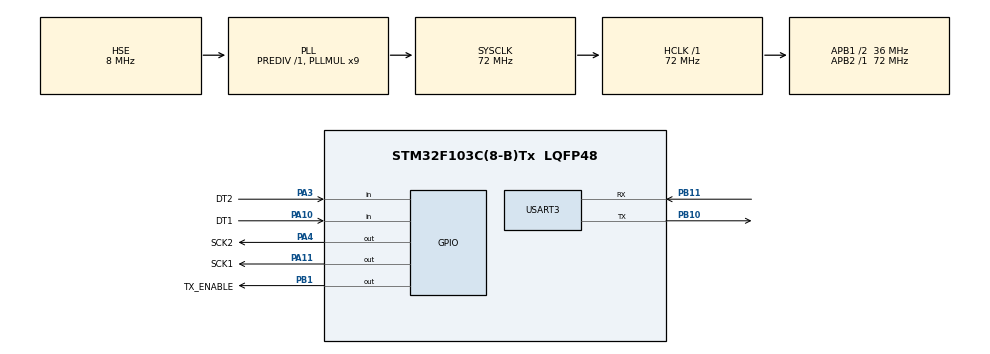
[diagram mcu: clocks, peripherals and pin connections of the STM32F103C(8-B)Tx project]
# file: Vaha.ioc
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Mcu.Family=STM32F1
Mcu.Name=STM32F103C(8-B)Tx
Mcu.Package=LQFP48
NVIC.PriorityGroup=NVIC_PRIORITYGROUP_4
NVIC.TIM3_IRQn=true\:0\:0\:false\:false\:true\:true\:true\:true
NVIC.USART3_IRQn=true\:0\:0\:false\:false\:true\:true\:true\:true
PA10.GPIO_Label=DT1
PA10.Signal=GPIO_Input
PA11.GPIO_Label=SCK1
PA11.Signal=GPIO_Output
PA13.Mode=Serial_Wire
PA13.Signal=SYS_JTMS-SWDIO
PA14.Mode=Serial_Wire
PA14.Signal=SYS_JTCK-SWCLK
PA3.GPIO_Label=DT2
PA3.Signal=GPIO_Input
PA4.GPIO_Label=SCK2
PA4.Signal=GPIO_Output
PB1.GPIO_Label=TX_ENABLE
PB1.Signal=GPIO_Output
PB10.Mode=Asynchronous
PB10.Signal=USART3_TX
PB11.Mode=Asynchronous
PB11.Signal=USART3_RX
PD0-OSC_IN.Mode=HSE-External-Oscillator
PD0-OSC_IN.Signal=RCC_OSC_IN
PD1-OSC_OUT.Mode=HSE-External-Oscillator
PD1-OSC_OUT.Signal=RCC_OSC_OUT
ProjectManager.HeapSize=0x200
ProjectManager.StackSize=0x400
ProjectManager.TargetToolchain=STM32CubeIDE
RCC.AHBFreq_Value=72000000
RCC.APB1CLKDivider=RCC_HCLK_DIV2
RCC.APB1Freq_Value=36000000
RCC.APB1TimFreq_Value=72000000
RCC.APB2Freq_Value=72000000
RCC.APB2TimFreq_Value=72000000
RCC.HCLKFreq_Value=72000000
RCC.PLLMUL=RCC_PLL_MUL9
RCC.PLLSourceVirtual=RCC_PLLSOURCE_HSE
RCC.SYSCLKFreq_VALUE=72000000
RCC.SYSCLKSource=RCC_SYSCLKSOURCE_PLLCLK
RCC.USBFreq_Value=72000000
TIM3.Period=49
TIM3.Prescaler=72-1
TIM4.Prescaler=72-1
USART3.VirtualMode=VM_ASYNC
VP_TIM3_VS_ClockSourceINT.Mode=Internal
VP_TIM4_VS_ClockSourceINT.Mode=Internal
board=custom

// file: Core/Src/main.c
/* USER CODE BEGIN Header */
/**
  ******************************************************************************
  * @file           : main.c
  * @brief          : Main program body
  ******************************************************************************
  * @attention
  *
  * Copyright (c) 2024 STMicroelectronics.
  * All rights reserved.
  *
  * This software is licensed under terms that can be found in the LICENSE file
  * in the root directory of this software component.
  * If no LICENSE file comes with this software, it is provided AS-IS.
  *
  ******************************************************************************
  */
/* USER CODE END Header */
#include "main.h"

/* USER CODE BEGIN Includes */
#include "hx711.h"
#include "mb.h"
#include "mbport.h"
/* USER CODE END Includes */

/* USER CODE BEGIN PD */
#define REG_INPUT_START 1000
#define REG_INPUT_NREGS 2
#define REG_HOLDING_START 2000
#define REG_HOLDING_NREGS 2
/* USER CODE END PD */

TIM_HandleTypeDef htim3;
TIM_HandleTypeDef htim4;

UART_HandleTypeDef huart3;

/* USER CODE BEGIN PV */
static USHORT   usRegInputStart = REG_INPUT_START;
static USHORT   usRegInputBuf[REG_INPUT_NREGS];
static USHORT   usRegHoldingStart = REG_HOLDING_START;
static USHORT   usRegHoldingBuf[REG_HOLDING_NREGS];
/* USER CODE END PV */

void SystemClock_Config(void);
static void MX_GPIO_Init(void);
static void MX_TIM3_Init(void);
static void MX_TIM4_Init(void);
static void MX_USART3_UART_Init(void);

int main(void)
{
  /* USER CODE BEGIN 1 */
  hx711_t first_adc;
  hx711_t second_adc;
  /* USER CODE END 1 */

  /* MCU Configuration--------------------------------------------------------*/

  /* Reset of all peripherals, Initializes the Flash interface and the Systick. */
  HAL_Init();

  /* Configure the system clock */
  SystemClock_Config();

  /* Initialize all configured peripherals */
  MX_GPIO_Init();
  MX_TIM3_Init();
  MX_TIM4_Init();
  MX_USART3_UART_Init();
  /* USER CODE BEGIN 2 */
  HAL_TIM_Base_Start(&htim4);
  hx711_set_timer(&htim4);
  hx711_init(&first_adc,  DT1_Pin, SCK1_Pin);
  hx711_init(&second_adc, DT2_Pin, SCK2_Pin);

  eMBInit( MB_RTU, 0x20, 0, 115200, MB_PAR_NONE );
  Modbus_HTIM_Init(&htim3);
  Modbus_UART_Init(&huart3, TX_ENABLE_GPIO_Port, TX_ENABLE_Pin);
  eMBEnable(  );
  /* USER CODE END 2 */

  /* Infinite loop */
  /* USER CODE BEGIN WHILE */
  int32_t first_weightA;
  int32_t zero_first_weightA;
  int32_t second_weightA;
  int32_t zero_second_weightA;
  int32_t first_weightB;
  int32_t zero_first_weightB;
  int32_t second_weightB;
  int32_t zero_second_weightB;
  int32_t weight;

  usRegHoldingBuf[1] = 1;
  while (1)
  {
	(void)eMBPoll();
	if (usRegHoldingBuf[1]) {
		hx711_set_gain(&first_adc, 32);
		zero_first_weightA  = hx711_get_value(&first_adc);
		hx711_set_gain(&second_adc, 32);
		zero_second_weightA = hx711_get_value(&second_adc);
		hx711_set_gain(&first_adc, 128);
		zero_first_weightB  = hx711_get_value(&first_adc);
		hx711_set_gain(&second_adc, 128);
		zero_second_weightB = hx711_get_value(&second_adc);

		usRegHoldingBuf[1] = 0;
	}

	if (usRegHoldingBuf[0]) {
		hx711_set_gain(&first_adc, 32);
		first_weightA  = hx711_get_value(&first_adc) - zero_first_weightA;
		hx711_set_gain(&second_adc, 32);
		second_weightA = hx711_get_value(&second_adc) - zero_second_weightA;
		hx711_set_gain(&first_adc, 128);
		first_weightB  = hx711_get_value(&first_adc) - zero_first_weightB;
		hx711_set_gain(&second_adc, 128);
		second_weightB = hx711_get_value(&second_adc) - zero_second_weightB;

		weight = (first_weightA + second_weightA + (first_weightB + second_weightB) / 4) / 100;

		usRegInputBuf[0] = weight >> 16;
		usRegInputBuf[1] = weight & 0xFFFF;

		usRegHoldingBuf[0] = 0;
	}
    /* USER CODE END WHILE */

  }
}

void SystemClock_Config(void)
{
  RCC_OscInitTypeDef RCC_OscInitStruct = {0};
  RCC_ClkInitTypeDef RCC_ClkInitStruct = {0};

  /** Initializes the RCC Oscillators according to the specified parameters
  * in the RCC_OscInitTypeDef structure.
  */
  RCC_OscInitStruct.OscillatorType = RCC_OSCILLATORTYPE_HSE;
  RCC_OscInitStruct.HSEState = RCC_HSE_ON;
  RCC_OscInitStruct.HSEPredivValue = RCC_HSE_PREDIV_DIV1;
  RCC_OscInitStruct.HSIState = RCC_HSI_ON;
  RCC_OscInitStruct.PLL.PLLState = RCC_PLL_ON;
  RCC_OscInitStruct.PLL.PLLSource = RCC_PLLSOURCE_HSE;
  RCC_OscInitStruct.PLL.PLLMUL = RCC_PLL_MUL9;
  if (HAL_RCC_OscConfig(&RCC_OscInitStruct) != HAL_OK)
  {
    Error_Handler();
  }

  /** Initializes the CPU, AHB and APB buses clocks
  */
  RCC_ClkInitStruct.ClockType = RCC_CLOCKTYPE_HCLK|RCC_CLOCKTYPE_SYSCLK
                              |RCC_CLOCKTYPE_PCLK1|RCC_CLOCKTYPE_PCLK2;
  RCC_ClkInitStruct.SYSCLKSource = RCC_SYSCLKSOURCE_PLLCLK;
  RCC_ClkInitStruct.AHBCLKDivider = RCC_SYSCLK_DIV1;
  RCC_ClkInitStruct.APB1CLKDivider = RCC_HCLK_DIV2;
  RCC_ClkInitStruct.APB2CLKDivider = RCC_HCLK_DIV1;

  if (HAL_RCC_ClockConfig(&RCC_ClkInitStruct, FLASH_LATENCY_2) != HAL_OK)
  {
    Error_Handler();
  }
}

static void MX_TIM3_Init(void)
{

  TIM_ClockConfigTypeDef sClockSourceConfig = {0};
  TIM_MasterConfigTypeDef sMasterConfig = {0};

  htim3.Instance = TIM3;
  htim3.Init.Prescaler = 72-1;
  htim3.Init.CounterMode = TIM_COUNTERMODE_UP;
  htim3.Init.Period = 49;
  htim3.Init.ClockDivision = TIM_CLOCKDIVISION_DIV1;
  htim3.Init.AutoReloadPreload = TIM_AUTORELOAD_PRELOAD_DISABLE;
  if (HAL_TIM_Base_Init(&htim3) != HAL_OK)
  {
    Error_Handler();
  }
  sClockSourceConfig.ClockSource = TIM_CLOCKSOURCE_INTERNAL;
  if (HAL_TIM_ConfigClockSource(&htim3, &sClockSourceConfig) != HAL_OK)
  {
    Error_Handler();
  }
  sMasterConfig.MasterOutputTrigger = TIM_TRGO_RESET;
  sMasterConfig.MasterSlaveMode = TIM_MASTERSLAVEMODE_DISABLE;
  if (HAL_TIMEx_MasterConfigSynchronization(&htim3, &sMasterConfig) != HAL_OK)
  {
    Error_Handler();
  }

}

static void MX_TIM4_Init(void)
{

  TIM_ClockConfigTypeDef sClockSourceConfig = {0};
  TIM_MasterConfigTypeDef sMasterConfig = {0};

  htim4.Instance = TIM4;
  htim4.Init.Prescaler = 72-1;
  htim4.Init.CounterMode = TIM_COUNTERMODE_UP;
  htim4.Init.Period = 65535;
  htim4.Init.ClockDivision = TIM_CLOCKDIVISION_DIV1;
  htim4.Init.AutoReloadPreload = TIM_AUTORELOAD_PRELOAD_DISABLE;
  if (HAL_TIM_Base_Init(&htim4) != HAL_OK)
  {
    Error_Handler();
  }
  sClockSourceConfig.ClockSource = TIM_CLOCKSOURCE_INTERNAL;
  if (HAL_TIM_ConfigClockSource(&htim4, &sClockSourceConfig) != HAL_OK)
  {
    Error_Handler();
  }
  sMasterConfig.MasterOutputTrigger = TIM_TRGO_RESET;
  sMasterConfig.MasterSlaveMode = TIM_MASTERSLAVEMODE_DISABLE;
  if (HAL_TIMEx_MasterConfigSynchronization(&htim4, &sMasterConfig) != HAL_OK)
  {
    Error_Handler();
  }

}

static void MX_USART3_UART_Init(void)
{

  huart3.Instance = USART3;
  huart3.Init.BaudRate = 115200;
  huart3.Init.WordLength = UART_WORDLENGTH_8B;
  huart3.Init.StopBits = UART_STOPBITS_1;
  huart3.Init.Parity = UART_PARITY_NONE;
  huart3.Init.Mode = UART_MODE_TX_RX;
  huart3.Init.HwFlowCtl = UART_HWCONTROL_NONE;
  huart3.Init.OverSampling = UART_OVERSAMPLING_16;
  if (HAL_UART_Init(&huart3) != HAL_OK)
  {
    Error_Handler();
  }

}

static void MX_GPIO_Init(void)
{
  GPIO_InitTypeDef GPIO_InitStruct = {0};

  /* GPIO Ports Clock Enable */
  __HAL_RCC_GPIOD_CLK_ENABLE();
  __HAL_RCC_GPIOA_CLK_ENABLE();
  __HAL_RCC_GPIOB_CLK_ENABLE();

  /*Configure GPIO pin Output Level */
  HAL_GPIO_WritePin(GPIOA, SCK2_Pin|SCK1_Pin, GPIO_PIN_RESET);

  /*Configure GPIO pin Output Level */
  HAL_GPIO_WritePin(TX_ENABLE_GPIO_Port, TX_ENABLE_Pin, GPIO_PIN_RESET);

  /*Configure GPIO pins : DT2_Pin DT1_Pin */
  GPIO_InitStruct.Pin = DT2_Pin|DT1_Pin;
  GPIO_InitStruct.Mode = GPIO_MODE_INPUT;
  GPIO_InitStruct.Pull = GPIO_NOPULL;
  HAL_GPIO_Init(GPIOA, &GPIO_InitStruct);

  /*Configure GPIO pins : SCK2_Pin SCK1_Pin */
  GPIO_InitStruct.Pin = SCK2_Pin|SCK1_Pin;
  GPIO_InitStruct.Mode = GPIO_MODE_OUTPUT_PP;
  GPIO_InitStruct.Pull = GPIO_NOPULL;
  GPIO_InitStruct.Speed = GPIO_SPEED_FREQ_LOW;
  HAL_GPIO_Init(GPIOA, &GPIO_InitStruct);

  /*Configure GPIO pin : TX_ENABLE_Pin */
  GPIO_InitStruct.Pin = TX_ENABLE_Pin;
  GPIO_InitStruct.Mode = GPIO_MODE_OUTPUT_PP;
  GPIO_InitStruct.Pull = GPIO_NOPULL;
  GPIO_InitStruct.Speed = GPIO_SPEED_FREQ_LOW;
  HAL_GPIO_Init(TX_ENABLE_GPIO_Port, &GPIO_InitStruct);

}

/* USER CODE BEGIN 4 */
eMBErrorCode
eMBRegInputCB( UCHAR * pucRegBuffer, USHORT usAddress, USHORT usNRegs )
{
    eMBErrorCode    eStatus = MB_ENOERR;
    int             iRegIndex;

    if( ( usAddress >= REG_INPUT_START )
        && ( usAddress + usNRegs <= REG_INPUT_START + REG_INPUT_NREGS ) )
    {
        iRegIndex = ( int )( usAddress - usRegInputStart );
        while( usNRegs > 0 )
        {
            *pucRegBuffer++ = ( unsigned char )( usRegInputBuf[iRegIndex] >> 8 );
            *pucRegBuffer++ = ( unsigned char )( usRegInputBuf[iRegIndex] & 0xFF );
            iRegIndex++;
            usNRegs--;
        }
    }
    else
    {
        eStatus = MB_ENOREG;
    }

    return eStatus;
}

eMBErrorCode
eMBRegHoldingCB( UCHAR * pucRegBuffer, USHORT usAddress, USHORT usNRegs, eMBRegisterMode eMode )
{
    eMBErrorCode    eStatus = MB_ENOERR;
    int             iRegIndex;

    if( ( usAddress >= REG_HOLDING_START ) &&
        ( usAddress + usNRegs <= REG_HOLDING_START + REG_HOLDING_NREGS ) )
    {
        iRegIndex = ( int )( usAddress - usRegHoldingStart );
        switch ( eMode )
        {
            /* Pass current register values to the protocol stack. */
        case MB_REG_READ:
            while( usNRegs > 0 )
            {
                *pucRegBuffer++ = ( UCHAR ) ( usRegHoldingBuf[iRegIndex] >> 8 );
                *pucRegBuffer++ = ( UCHAR ) ( usRegHoldingBuf[iRegIndex] & 0xFF );
                iRegIndex++;
                usNRegs--;
            }
            break;

            /* Update current register values with new values from the
             * protocol stack. */
        case MB_REG_WRITE:
            while( usNRegs > 0 )
            {
                usRegHoldingBuf[iRegIndex] = *pucRegBuffer++ << 8;
                usRegHoldingBuf[iRegIndex] |= *pucRegBuffer++;
                iRegIndex++;
                usNRegs--;
            }
        }
    }
    else
    {
        eStatus = MB_ENOREG;
    }
    return eStatus;
}

eMBErrorCode
eMBRegCoilsCB( UCHAR * pucRegBuffer, USHORT usAddress, USHORT usNCoils, eMBRegisterMode eMode )
{
    return MB_ENOREG;
}

eMBErrorCode
eMBRegDiscreteCB( UCHAR * pucRegBuffer, USHORT usAddress, USHORT usNDiscrete )
{
    return MB_ENOREG;
}
/* USER CODE END 4 */

void Error_Handler(void)
{
  __disable_irq();
  while (1)
  {
  }
}
